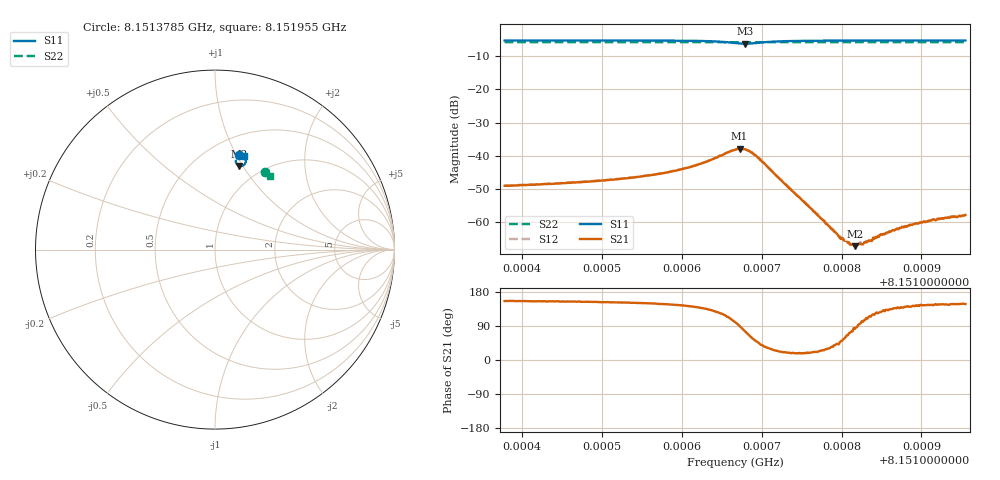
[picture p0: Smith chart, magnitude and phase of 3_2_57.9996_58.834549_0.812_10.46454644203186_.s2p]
#  HZ  S  RI  R  50.00
! Rohde & Schwarz Vector Network Analyzer
! Rohde-Schwarz,ZNB20-2Port,1311601062101988,3.16
! Created: UTC 3/21/2024, 12:50:22 AM
! freq[Hz]  re:S11  im:S11  re:S21  im:S21  re:S12  im:S12  re:S22  im:S22
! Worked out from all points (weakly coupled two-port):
!   401 points, 8.1513785 GHz to 8.151955 GHz, reference 50 ohm
!   highest |S21| = -37.86 dB at 8.1516725 GHz (marker M1); lowest = -67.2 dB at 8.1518166 GHz (marker M2)
!   lowest |S11| = -6.3 dB at 8.1516797 GHz (marker M3), VSWR 2.89, Z = 39.6 + j48.4 ohm
!   |S11| at or under -10 dB: nowhere
!   |S22| runs from -5.8 to -5.8 dB; largest |S21 - S12| = 0.00036
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8.15137846e9  0.1354 0.527  -0.00322 0.00147  -0.00324 0.00147  0.2764 0.4336
8.15147503e9  0.1443 0.5244  -0.0036 0.00178  -0.00362 0.00187  0.2817 0.4301
8.15152403e9  0.1498 0.5223  -0.00398 0.00213  -0.00398 0.0022  0.2843 0.4282
8.15157159e9  0.1564 0.5189  -0.00454 0.00283  -0.00452 0.00291  0.2869 0.4263
8.15161916e9  0.1659 0.5102  -0.00552 0.00477  -0.00549 0.00482  0.2895 0.424
8.15166672e9  0.1606 0.4713  -0.00219 0.0121  -0.0021 0.0122  0.2911 0.4211
8.15167248e9  0.1508 0.4664  0.00012 0.0128  0.000135 0.0128  0.2909 0.4208
8.15167969e9  0.136 0.4666  0.00329 0.0121  0.00325 0.0122  0.2907 0.4208
8.1516869e9  0.1235 0.4744  0.00554 0.00978  0.00564 0.00996  0.2907 0.4211
8.15169554e9  0.1165 0.4878  0.00637 0.00675  0.00669 0.00674  0.291 0.4212
8.15172149e9  0.124 0.5126  0.00427 0.00178  0.00438 0.00182  0.293 0.4213
8.15176329e9  0.1388 0.5207  0.00146 0.000545  0.0015 0.000521  0.296 0.4198
8.15179932e9  0.1461 0.5216  0.00036 0.000428  0.000416 0.000434  0.2981 0.4182
8.15180652e9  0.1474 0.5216  0.000222 0.000474  0.000257 0.000471  0.2985 0.4182
8.15181373e9  0.1485 0.5214  0.000117 0.000446  9.56e-05 0.000463  0.2988 0.4179
8.15181661e9  0.1489 0.5214  6.25e-05 0.000433  7.29e-05 0.000453  0.299 0.4178
8.15182814e9  0.1506 0.5214  -0.000129 0.000481  -0.000128 0.000479  0.2995 0.4173
8.15184544e9  0.1527 0.5211  -0.000341 0.00052  -0.000314 0.000528  0.3005 0.4165
8.15185985e9  0.1544 0.521  -0.000493 0.000517  -0.000522 0.000523  0.3012 0.4161
8.15187571e9  0.1562 0.5208  -0.000645 0.000571  -0.000621 0.00056  0.3022 0.4155
8.15190021e9  0.1586 0.5203  -0.000808 0.000566  -0.000806 0.000604  0.3035 0.4143
8.15195498e9  0.1637 0.5191  -0.00109 0.00069  -0.00109 0.000682  0.3063 0.4124
